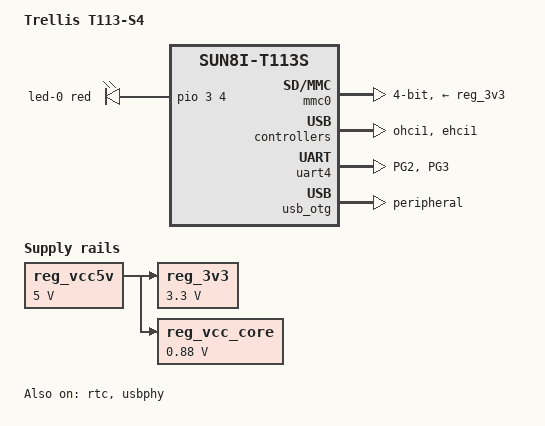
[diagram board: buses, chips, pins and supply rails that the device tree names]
// SPDX-License-Identifier: (GPL-2.0+ OR MIT)
// Copyright (C) 2022 Arm Ltd.

#include <dt-bindings/interrupt-controller/irq.h>

/dts-v1/;

#include "sun8i-t113s.dtsi"
#include <dt-bindings/gpio/gpio.h>
#include <dt-bindings/leds/common.h>

/ {
	model = "Trellis T113-S4";
	compatible = "protolux,trellis-t113", "allwinner,sun8i-t113s";

	aliases {
		serial4 = &uart4;
	};

	chosen {
		stdout-path = "serial4:115200n8";
	};

	leds {
		compatible = "gpio-leds";

		led-0 {
			color = <LED_COLOR_ID_RED>;
			function = LED_FUNCTION_HEARTBEAT;
			gpios = <&pio 3 4 GPIO_ACTIVE_HIGH>; /* PD4 */
		};
	};

	reg_vcc5v: regulator-5v {
		compatible = "regulator-fixed";
		regulator-name = "vcc-5v";
		regulator-min-microvolt = <5000000>;
		regulator-max-microvolt = <5000000>;
		regulator-always-on;
	};

	reg_3v3: regulator-3v3 {
		compatible = "regulator-fixed";
		regulator-name = "vcc-3v3";
		regulator-min-microvolt = <3300000>;
		regulator-max-microvolt = <3300000>;
		vin-supply = <&reg_vcc5v>;
	};

	reg_vcc_core: regulator-core {
		compatible = "regulator-fixed";
		regulator-name = "vcc-core";
		regulator-min-microvolt = <880000>;
		regulator-max-microvolt = <880000>;
		vin-supply = <&reg_vcc5v>;
	};
};

&cpu0 {
	cpu-supply = <&reg_vcc_core>;
};

&cpu1 {
	cpu-supply = <&reg_vcc_core>;
};

&rtc {
	status = "okay";
};

&dcxo {
	clock-frequency = <24000000>;
};

/* eMMC */
&mmc0 {
	pinctrl-names = "default";
	pinctrl-0 = <&mmc0_pins>;
	vmmc-supply = <&reg_3v3>;
	disable-wp;
	bus-width = <4>;
	status = "okay";
};

&ohci1 {
	status = "okay";
};

&pio {
	vcc-pb-supply = <&reg_3v3>;
	vcc-pc-supply = <&reg_3v3>;
	vcc-pd-supply = <&reg_3v3>;
	vcc-pe-supply = <&reg_3v3>;
	vcc-pf-supply = <&reg_3v3>;
	vcc-pg-supply = <&reg_3v3>;

	uart4_pg_pins: uart4-pg-pins {
		pins = "PG2", "PG3";
		function = "uart4";
	};
};

/* shell */
&uart4 {
	pinctrl-names = "default";
	pinctrl-0 = <&uart4_pg_pins>;
	status = "okay";
};

&ehci1 {
	status = "okay";
};

/* The USB-C socket has its CC pins pulled to GND, so is hardwired as a UFP. */
&usb_otg {
	dr_mode = "peripheral";
	status = "okay";
};

&usbphy {
	usb1_vbus-supply = <&reg_vcc5v>;
	status = "okay";
};
